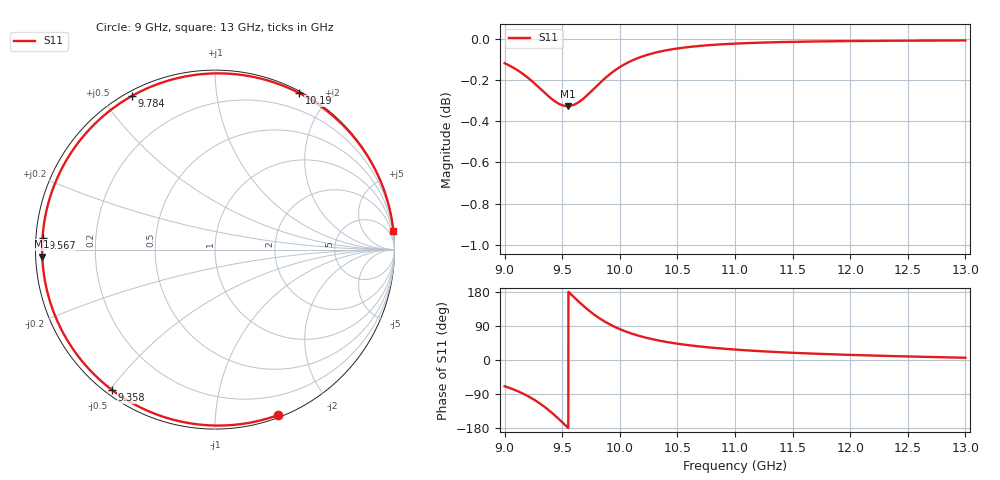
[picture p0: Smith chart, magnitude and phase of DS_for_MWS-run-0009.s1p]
! TOUCHSTONE file generated by CST DESIGN STUDIO
! Date and time: Tue Feb  4 18:14:39 2025
! Project name: C:\Work\MatlabApps\UnitCellOptimizationMatlab\CST\unitcell.cst
! Tree item: Tasks\Sweep1\SPara1\S-Parameters
! Header version: 2024
! Port assignment regex: !\s*Touchstone port\s*([0-9]+)\s*=\s*(CST MWS port|CST DES external port|CST DES block port)\s*(.+)\s* \(\"(.*)\"\)(\s*mode\s*([0-9]+))?.*
! Touchstone port assignment:
! Touchstone port 1 = CST DES external port 1 ("")
# GHz S MA R 50
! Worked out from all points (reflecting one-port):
!   4001 points, 9 GHz to 13 GHz, reference 50 ohm
!   lowest |S11| = -0.3 dB at 9.546 GHz (marker M1), VSWR 53.30, Z = 0.938 - j1 ohm
!   phase of S11 starts at -69 deg and turns -285 deg over the sweep
!   S11 on the Smith chart (normalised r, x): 9 GHz: 0.02, -1.45; 9.358 GHz: 0.02, -0.51; 9.567 GHz: 0.02, +0.03; 9.784 GHz: 0.02, +0.60; 10.19 GHz: 0.02, +1.67; 13 GHz: 0, +19
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9  0.9866 -69.3
9.103  0.9831 -80.9
9.213  0.978 -97.1
9.289  0.9738 -111.1
9.358  0.9698 -126.3
9.426  0.9662 -143.5
9.465  0.9646 -154.2
9.5  0.9637 -164.2
9.546  0.9632 -177.7
9.567  0.9633 176.1
9.622  0.9645 160.0
9.682  0.9671 143.3
9.733  0.97 130.3
9.784  0.9731 118.4
9.83  0.9759 108.8
9.88  0.9788 99.5
9.936  0.9816 90.4
10  0.9844 81.4
10.091  0.9876 70.9
10.19  0.9902 61.8
10.332  0.9928 51.8
10.5  0.9948 43.0
10.721  0.9963 34.8
11  0.9975 27.5
11.5  0.9984 19.0
12  0.9989 13.5
12.5  0.9991 9.3
13  0.9992 6.0
